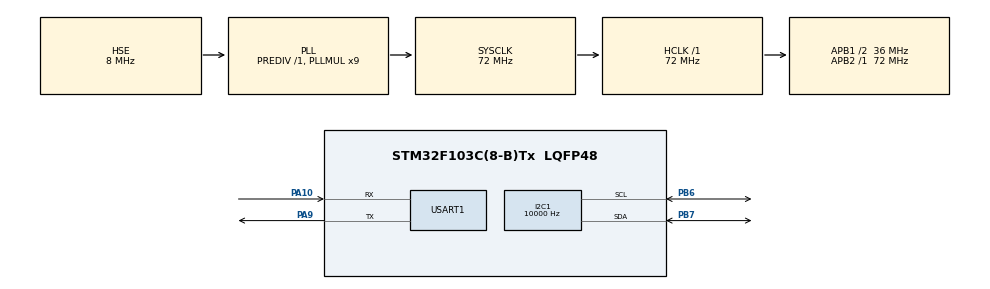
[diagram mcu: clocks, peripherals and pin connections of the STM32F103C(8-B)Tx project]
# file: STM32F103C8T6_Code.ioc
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Dma.Request0=USART1_RX
Dma.Request1=USART1_TX
Dma.USART1_RX.0.Direction=DMA_PERIPH_TO_MEMORY
Dma.USART1_RX.0.Instance=DMA1_Channel5
Dma.USART1_RX.0.MemDataAlignment=DMA_MDATAALIGN_BYTE
Dma.USART1_RX.0.MemInc=DMA_MINC_ENABLE
Dma.USART1_RX.0.Mode=DMA_NORMAL
Dma.USART1_RX.0.PeriphDataAlignment=DMA_PDATAALIGN_BYTE
Dma.USART1_RX.0.PeriphInc=DMA_PINC_DISABLE
Dma.USART1_RX.0.Priority=DMA_PRIORITY_LOW
Dma.USART1_TX.1.Direction=DMA_MEMORY_TO_PERIPH
Dma.USART1_TX.1.Instance=DMA1_Channel4
Dma.USART1_TX.1.MemDataAlignment=DMA_MDATAALIGN_BYTE
Dma.USART1_TX.1.MemInc=DMA_MINC_ENABLE
Dma.USART1_TX.1.Mode=DMA_NORMAL
Dma.USART1_TX.1.PeriphDataAlignment=DMA_PDATAALIGN_BYTE
Dma.USART1_TX.1.PeriphInc=DMA_PINC_DISABLE
Dma.USART1_TX.1.Priority=DMA_PRIORITY_LOW
FREERTOS.BinarySemaphores01=BinarySem_Task_ReportData,Dynamic,NULL;BinarySem_Task_DeviceSetting,Dynamic,NULL;BinarySem_Task_NetworkLink,Dynamic,NULL;BinarySem_Task_RXProductProtocolAnalyse,Dynamic,NULL
FREERTOS.Tasks01=Task_GetSensorsData,0,128,Func_GetSensorsData,Default,NULL,Dynamic,NULL,NULL;Task_ReportData,0,128,Func_ReportData,Default,NULL,Dynamic,NULL,NULL;Task_DeviceSetting,0,128,Func_DeviceSetting,Default,NULL,Dynamic,NULL,NULL;Task_NetworkLink,0,128,Func_NetworkLink,Default,NULL,Dynamic,NULL,NULL;Task_RXProductProtocolAnalyse,0,128,Func_RXProductProtocolAnalyse,Default,NULL,Dynamic,NULL,NULL
FREERTOS.Timers01=myTimer1s,myTimer1s_Callback,osTimerPeriodic,Default,NULL,Dynamic,NULL
FREERTOS.configMAX_TASK_NAME_LEN=32
FREERTOS.configTOTAL_HEAP_SIZE=10240
FREERTOS.configUSE_TIMERS=1
I2C1.ClockSpeed=10000
IWDG.Prescaler=IWDG_PRESCALER_32
IWDG.Reload=1875
Mcu.Family=STM32F1
Mcu.Name=STM32F103C(8-B)Tx
Mcu.Package=LQFP48
NVIC.DMA1_Channel4_IRQn=true\:5\:0\:false\:false\:true\:true\:false
NVIC.DMA1_Channel5_IRQn=true\:5\:0\:false\:false\:true\:true\:false
NVIC.PriorityGroup=NVIC_PRIORITYGROUP_4
NVIC.TIM4_IRQn=true\:0\:0\:false\:false\:true\:false\:false
NVIC.TimeBase=TIM4_IRQn
NVIC.TimeBaseIP=TIM4
NVIC.USART1_IRQn=true\:5\:0\:false\:false\:true\:true\:true
PA10.Mode=Asynchronous
PA10.Signal=USART1_RX
PA13.Mode=Serial_Wire
PA13.Signal=SYS_JTMS-SWDIO
PA14.Mode=Serial_Wire
PA14.Signal=SYS_JTCK-SWCLK
PA9.Mode=Asynchronous
PA9.Signal=USART1_TX
PB6.Mode=I2C
PB6.Signal=I2C1_SCL
PB7.Mode=I2C
PB7.Signal=I2C1_SDA
PD0-OSC_IN.Mode=HSE-External-Oscillator
PD0-OSC_IN.Signal=RCC_OSC_IN
PD1-OSC_OUT.Mode=HSE-External-Oscillator
PD1-OSC_OUT.Signal=RCC_OSC_OUT
ProjectManager.HeapSize=0x200
ProjectManager.StackSize=0x400
ProjectManager.TargetToolchain=MDK-ARM V5
RCC.AHBFreq_Value=72000000
RCC.APB1CLKDivider=RCC_HCLK_DIV2
RCC.APB1Freq_Value=36000000
RCC.APB1TimFreq_Value=72000000
RCC.APB2Freq_Value=72000000
RCC.APB2TimFreq_Value=72000000
RCC.HCLKFreq_Value=72000000
RCC.PLLMUL=RCC_PLL_MUL9
RCC.PLLSourceVirtual=RCC_PLLSOURCE_HSE
RCC.SYSCLKFreq_VALUE=72000000
RCC.SYSCLKSource=RCC_SYSCLKSOURCE_PLLCLK
RCC.USBFreq_Value=72000000
USART1.VirtualMode=VM_ASYNC
VP_FREERTOS_VS_ENABLE.Mode=Enabled
VP_IWDG_VS_IWDG.Mode=IWDG_Activate
VP_SYS_VS_tim4.Mode=TIM4
board=custom

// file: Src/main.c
/**
  ******************************************************************************
  * @file           : main.c
  * @brief          : Main program body
  ******************************************************************************
  * This notice applies to any and all portions of this file
  * that are not between comment pairs USER CODE BEGIN and
  * USER CODE END. Other portions of this file, whether
  * inserted by the user or by software development tools
  * are owned by their respective copyright owners.
  *
  * Copyright (c) 2020 STMicroelectronics International N.V.
  * All rights reserved.
  *
  * Redistribution and use in source and binary forms, with or without
  * modification, are permitted, provided that the following conditions are met:
  *
  * 1. Redistribution of source code must retain the above copyright notice,
  *    this list of conditions and the following disclaimer.
  * 2. Redistributions in binary form must reproduce the above copyright notice,
  *    this list of conditions and the following disclaimer in the documentation
  *    and/or other materials provided with the distribution.
  * 3. Neither the name of STMicroelectronics nor the names of other
  *    contributors to this software may be used to endorse or promote products
  *    derived from this software without specific written permission.
  * 4. This software, including modifications and/or derivative works of this
  *    software, must execute solely and exclusively on microcontroller or
  *    microprocessor devices manufactured by or for STMicroelectronics.
  * 5. Redistribution and use of this software other than as permitted under
  *    this license is void and will automatically terminate your rights under
  *    this license.
  *
  * THIS SOFTWARE IS PROVIDED BY STMICROELECTRONICS AND CONTRIBUTORS "AS IS"
  * AND ANY EXPRESS, IMPLIED OR STATUTORY WARRANTIES, INCLUDING, BUT NOT
  * LIMITED TO, THE IMPLIED WARRANTIES OF MERCHANTABILITY, FITNESS FOR A
  * PARTICULAR PURPOSE AND NON-INFRINGEMENT OF THIRD PARTY INTELLECTUAL PROPERTY
  * RIGHTS ARE DISCLAIMED TO THE FULLEST EXTENT PERMITTED BY LAW. IN NO EVENT
  * SHALL STMICROELECTRONICS OR CONTRIBUTORS BE LIABLE FOR ANY DIRECT, INDIRECT,
  * INCIDENTAL, SPECIAL, EXEMPLARY, OR CONSEQUENTIAL DAMAGES (INCLUDING, BUT NOT
  * LIMITED TO, PROCUREMENT OF SUBSTITUTE GOODS OR SERVICES; LOSS OF USE, DATA,
  * OR PROFITS; OR BUSINESS INTERRUPTION) HOWEVER CAUSED AND ON ANY THEORY OF
  * LIABILITY, WHETHER IN CONTRACT, STRICT LIABILITY, OR TORT (INCLUDING
  * NEGLIGENCE OR OTHERWISE) ARISING IN ANY WAY OUT OF THE USE OF THIS SOFTWARE,
  * EVEN IF ADVISED OF THE POSSIBILITY OF SUCH DAMAGE.
  *
  ******************************************************************************
  */
#include "main.h"
#include "stm32f1xx_hal.h"
#include "cmsis_os.h"
#include "dma.h"
#include "i2c.h"
#include "iwdg.h"
#include "usart.h"
#include "gpio.h"

/* USER CODE BEGIN PV */
/* Private variables ---------------------------------------------------------*/

/* USER CODE END PV */

void SystemClock_Config(void);
void MX_FREERTOS_Init(void);

/* USER CODE BEGIN PFP */
/* Private function prototypes -----------------------------------------------*/

/* USER CODE END PFP */

int main(void)
{

  /* MCU Configuration----------------------------------------------------------*/

  /* Reset of all peripherals, Initializes the Flash interface and the Systick. */
  HAL_Init();

  /* Configure the system clock */
  SystemClock_Config();

  /* Initialize all configured peripherals */
  MX_GPIO_Init();
  MX_DMA_Init();
  MX_USART1_UART_Init();
  MX_I2C1_Init();
  MX_IWDG_Init();
  /* USER CODE BEGIN 2 */
	HAL_UART_Receive_DMA(&huart1, UsartType.RX_pData, RX_LEN);
	__HAL_UART_ENABLE_IT(&huart1, UART_IT_IDLE);
	HAL_Delay(10);
	HAL_IWDG_Init(&hiwdg);
  /* USER CODE END 2 */

  /* Call init function for freertos objects (in freertos.c) */
  MX_FREERTOS_Init();

  /* Start scheduler */
  osKernelStart();

  /* We should never get here as control is now taken by the scheduler */

  /* Infinite loop */
  while (1)
  {

  /* USER CODE BEGIN 3 */
		;
  }
  /* USER CODE END 3 */

}

void SystemClock_Config(void)
{

  RCC_OscInitTypeDef RCC_OscInitStruct;
  RCC_ClkInitTypeDef RCC_ClkInitStruct;

    /**Initializes the CPU, AHB and APB busses clocks
    */
  RCC_OscInitStruct.OscillatorType = RCC_OSCILLATORTYPE_LSI|RCC_OSCILLATORTYPE_HSE;
  RCC_OscInitStruct.HSEState = RCC_HSE_ON;
  RCC_OscInitStruct.HSEPredivValue = RCC_HSE_PREDIV_DIV1;
  RCC_OscInitStruct.HSIState = RCC_HSI_ON;
  RCC_OscInitStruct.LSIState = RCC_LSI_ON;
  RCC_OscInitStruct.PLL.PLLState = RCC_PLL_ON;
  RCC_OscInitStruct.PLL.PLLSource = RCC_PLLSOURCE_HSE;
  RCC_OscInitStruct.PLL.PLLMUL = RCC_PLL_MUL9;
  if (HAL_RCC_OscConfig(&RCC_OscInitStruct) != HAL_OK)
  {
    _Error_Handler(__FILE__, __LINE__);
  }

    /**Initializes the CPU, AHB and APB busses clocks
    */
  RCC_ClkInitStruct.ClockType = RCC_CLOCKTYPE_HCLK|RCC_CLOCKTYPE_SYSCLK
                              |RCC_CLOCKTYPE_PCLK1|RCC_CLOCKTYPE_PCLK2;
  RCC_ClkInitStruct.SYSCLKSource = RCC_SYSCLKSOURCE_PLLCLK;
  RCC_ClkInitStruct.AHBCLKDivider = RCC_SYSCLK_DIV1;
  RCC_ClkInitStruct.APB1CLKDivider = RCC_HCLK_DIV2;
  RCC_ClkInitStruct.APB2CLKDivider = RCC_HCLK_DIV1;

  if (HAL_RCC_ClockConfig(&RCC_ClkInitStruct, FLASH_LATENCY_2) != HAL_OK)
  {
    _Error_Handler(__FILE__, __LINE__);
  }

    /**Configure the Systick interrupt time
    */
  HAL_SYSTICK_Config(HAL_RCC_GetHCLKFreq()/1000);

    /**Configure the Systick
    */
  HAL_SYSTICK_CLKSourceConfig(SYSTICK_CLKSOURCE_HCLK);

  /* SysTick_IRQn interrupt configuration */
  HAL_NVIC_SetPriority(SysTick_IRQn, 15, 0);
}

void HAL_TIM_PeriodElapsedCallback(TIM_HandleTypeDef *htim)
{
  if (htim->Instance == TIM4) {
    HAL_IncTick();
  }
}

void _Error_Handler(char *file, int line)
{
  while(1)
  {
  }
}

/************************ (C) COPYRIGHT STMicroelectronics *****END OF FILE****/

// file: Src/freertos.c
/**
  ******************************************************************************
  * File Name          : freertos.c
  * Description        : Code for freertos applications
  ******************************************************************************
  * This notice applies to any and all portions of this file
  * that are not between comment pairs USER CODE BEGIN and
  * USER CODE END. Other portions of this file, whether
  * inserted by the user or by software development tools
  * are owned by their respective copyright owners.
  *
  * Copyright (c) 2020 STMicroelectronics International N.V.
  * All rights reserved.
  *
  * Redistribution and use in source and binary forms, with or without
  * modification, are permitted, provided that the following conditions are met:
  *
  * 1. Redistribution of source code must retain the above copyright notice,
  *    this list of conditions and the following disclaimer.
  * 2. Redistributions in binary form must reproduce the above copyright notice,
  *    this list of conditions and the following disclaimer in the documentation
  *    and/or other materials provided with the distribution.
  * 3. Neither the name of STMicroelectronics nor the names of other
  *    contributors to this software may be used to endorse or promote products
  *    derived from this software without specific written permission.
  * 4. This software, including modifications and/or derivative works of this
  *    software, must execute solely and exclusively on microcontroller or
  *    microprocessor devices manufactured by or for STMicroelectronics.
  * 5. Redistribution and use of this software other than as permitted under
  *    this license is void and will automatically terminate your rights under
  *    this license.
  *
  * THIS SOFTWARE IS PROVIDED BY STMICROELECTRONICS AND CONTRIBUTORS "AS IS"
  * AND ANY EXPRESS, IMPLIED OR STATUTORY WARRANTIES, INCLUDING, BUT NOT
  * LIMITED TO, THE IMPLIED WARRANTIES OF MERCHANTABILITY, FITNESS FOR A
  * PARTICULAR PURPOSE AND NON-INFRINGEMENT OF THIRD PARTY INTELLECTUAL PROPERTY
  * RIGHTS ARE DISCLAIMED TO THE FULLEST EXTENT PERMITTED BY LAW. IN NO EVENT
  * SHALL STMICROELECTRONICS OR CONTRIBUTORS BE LIABLE FOR ANY DIRECT, INDIRECT,
  * INCIDENTAL, SPECIAL, EXEMPLARY, OR CONSEQUENTIAL DAMAGES (INCLUDING, BUT NOT
  * LIMITED TO, PROCUREMENT OF SUBSTITUTE GOODS OR SERVICES; LOSS OF USE, DATA,
  * OR PROFITS; OR BUSINESS INTERRUPTION) HOWEVER CAUSED AND ON ANY THEORY OF
  * LIABILITY, WHETHER IN CONTRACT, STRICT LIABILITY, OR TORT (INCLUDING
  * NEGLIGENCE OR OTHERWISE) ARISING IN ANY WAY OUT OF THE USE OF THIS SOFTWARE,
  * EVEN IF ADVISED OF THE POSSIBILITY OF SUCH DAMAGE.
  *
  ******************************************************************************
  */

#include "FreeRTOS.h"
#include "task.h"
#include "cmsis_os.h"

/* USER CODE BEGIN Includes */
#include "usart.h"
#include <string.h>
#include <stdlib.h>
#include "UserFunc.h"
#include "stm32f1xx_hal.h"
#include "iwdg.h"
/* USER CODE END Includes */

osThreadId Task_GetSensorsDataHandle;
osThreadId Task_ReportDataHandle;
osThreadId Task_DeviceSettingHandle;
osThreadId Task_NetworkLinkHandle;
osThreadId Task_RXProductProtocolAnalyseHandle;
osTimerId myTimer1sHandle;
osSemaphoreId BinarySem_Task_ReportDataHandle;
osSemaphoreId BinarySem_Task_DeviceSettingHandle;
osSemaphoreId BinarySem_Task_NetworkLinkHandle;
osSemaphoreId BinarySem_Task_RXProductProtocolAnalyseHandle;

/* USER CODE BEGIN Variables */
uint16_t softTimerCount = 0;    //RTOS软件定时器  单位：秒
/* USER CODE END Variables */

void Func_GetSensorsData(void const * argument);
void Func_ReportData(void const * argument);
void Func_DeviceSetting(void const * argument);
void Func_NetworkLink(void const * argument);
void Func_RXProductProtocolAnalyse(void const * argument);
void myTimer1s_Callback(void const * argument);

void MX_FREERTOS_Init(void); /* (MISRA C 2004 rule 8.1) */

/* Hook prototypes */

/* Init FreeRTOS */

void MX_FREERTOS_Init(void) {

  /* Create the semaphores(s) */
  /* definition and creation of BinarySem_Task_ReportData */
  osSemaphoreDef(BinarySem_Task_ReportData);
  BinarySem_Task_ReportDataHandle = osSemaphoreCreate(osSemaphore(BinarySem_Task_ReportData), 1);

  /* definition and creation of BinarySem_Task_DeviceSetting */
  osSemaphoreDef(BinarySem_Task_DeviceSetting);
  BinarySem_Task_DeviceSettingHandle = osSemaphoreCreate(osSemaphore(BinarySem_Task_DeviceSetting), 1);

  /* definition and creation of BinarySem_Task_NetworkLink */
  osSemaphoreDef(BinarySem_Task_NetworkLink);
  BinarySem_Task_NetworkLinkHandle = osSemaphoreCreate(osSemaphore(BinarySem_Task_NetworkLink), 1);

  /* definition and creation of BinarySem_Task_RXProductProtocolAnalyse */
  osSemaphoreDef(BinarySem_Task_RXProductProtocolAnalyse);
  BinarySem_Task_RXProductProtocolAnalyseHandle = osSemaphoreCreate(osSemaphore(BinarySem_Task_RXProductProtocolAnalyse), 1);

  /* Create the timer(s) */
  /* definition and creation of myTimer1s */
  osTimerDef(myTimer1s, myTimer1s_Callback);
  myTimer1sHandle = osTimerCreate(osTimer(myTimer1s), osTimerPeriodic, NULL);

  /* USER CODE BEGIN RTOS_TIMERS */
  /* start timers, add new ones, ... */
	osTimerStart(myTimer1sHandle,1000);
  /* USER CODE END RTOS_TIMERS */

  /* Create the thread(s) */
  /* definition and creation of Task_GetSensorsData */
  osThreadDef(Task_GetSensorsData, Func_GetSensorsData, osPriorityNormal, 0, 128);
  Task_GetSensorsDataHandle = osThreadCreate(osThread(Task_GetSensorsData), NULL);

  /* definition and creation of Task_ReportData */
  osThreadDef(Task_ReportData, Func_ReportData, osPriorityNormal, 0, 128);
  Task_ReportDataHandle = osThreadCreate(osThread(Task_ReportData), NULL);

  /* definition and creation of Task_DeviceSetting */
  osThreadDef(Task_DeviceSetting, Func_DeviceSetting, osPriorityNormal, 0, 128);
  Task_DeviceSettingHandle = osThreadCreate(osThread(Task_DeviceSetting), NULL);

  /* definition and creation of Task_NetworkLink */
  osThreadDef(Task_NetworkLink, Func_NetworkLink, osPriorityNormal, 0, 128);
  Task_NetworkLinkHandle = osThreadCreate(osThread(Task_NetworkLink), NULL);

  /* definition and creation of Task_RXProductProtocolAnalyse */
  osThreadDef(Task_RXProductProtocolAnalyse, Func_RXProductProtocolAnalyse, osPriorityNormal, 0, 128);
  Task_RXProductProtocolAnalyseHandle = osThreadCreate(osThread(Task_RXProductProtocolAnalyse), NULL);

}

/* Func_GetSensorsData function */
void Func_GetSensorsData(void const * argument)
{

  /* USER CODE BEGIN Func_GetSensorsData */
	AHT15_Reset();
  /* Infinite loop */
  for(;;)
  {
		if( DeviceSet.AHT15_EN == 1)
			Get_AHT15_Data(); 		//获取温湿度
		if( DeviceSet.VOC_EN ==1 )
			Get_AGS01DB_Data();		//获取VOC
		if(	DeviceSet.PM2_5_EN == 1 )
			;
		if( DeviceSet.Light_EN == 1 )
			;
		if( DeviceSet.Noice_EN == 1 )
			;

    osDelay(2000);				//AGS01DB传感器采样周期最长  为>=2S
  }
  /* USER CODE END Func_GetSensorsData */
}

/* Func_ReportData function */
void Func_ReportData(void const * argument)
{
  /* USER CODE BEGIN Func_ReportData */
	char * p = NULL;
	char * p2 = NULL;
	char buf[10]={0};		//itoa buf

	osDelay(1);
	osSemaphoreWait(BinarySem_Task_ReportDataHandle,osWaitForever);// 先清空信号量，信号量创建(cubemx)生成时为满	 虽然该信号量可能不会用到
  osDelay(12000);			//给点时间初始化 12S
	/* Infinite loop */
  for(;;)
  {
		osSemaphoreWait(BinarySem_Task_ReportDataHandle,osWaitForever);	//控制1秒仅进入该任务一次

		//定期检测TCP远程服务器链接情况
		if( softTimerCount%(10*DeviceSet.T) == 0 )
		{
			snprintf((char *)UsartTx,sizeof(UsartTx),"AT+CIPSTATUS\r\n" );
			HAL_UART_Transmit_DMA(&huart1,(uint8_t *)UsartTx,strlen((char *)UsartTx) );
			osDelay(2000);		//时间未确定
			p = (char *)strstr((char *)&UsartType.RX_pData[0],"\"TCP\"");		// p+7 : IP地址首字节地址
			p2 = strchr(p+7,',');			// p2+1 : IP端口字符串首字节地址
			snprintf(buf,10,"%d",DeviceSet.Port);	 //itoa
			if( ( p == NULL ) || (0!= strncmp(p+7,(char *)DeviceSet.IP,strlen((char *)DeviceSet.IP))) || (0!= strncmp(p2+1,buf,strlen(buf)) )	)  //未连接上
			{
				p = NULL;
				p2 = NULL;
				memset(buf,0,10);		//清零初始化，防意外
				//远程服务器链接状态 刷新
				DeviceSet.NetWork_Status = 2;
				//连接TCP远程服务器
				snprintf((char *)UsartTx,sizeof(UsartTx),"AT+CIPSTART=2,\"TCP\",\"%s\",%hd\r\n",DeviceSet.IP,DeviceSet.Port );
				HAL_UART_Transmit_DMA(&huart1,(uint8_t *)UsartTx,strlen((char *)UsartTx) );
				osDelay(5000);
			}
			else	DeviceSet.NetWork_Status = 1;		//远程服务器链接状态 刷新 (连接上)
		}

		//定期自动上报数据 		数据帧形式
		if(  softTimerCount%DeviceSet.T == 0 )
		{
			if( (DeviceSet.Mode == 1)&&(DeviceSet.NetWork_Status == 1) )	 //网络连接正常 且开启自动上报
			{
				snprintf((char *)UsartTx,sizeof(UsartTx),"AT+CIPSEND=2,%d\r\n",DDD_Len+4 );
				HAL_UART_Transmit_DMA(&huart1,(uint8_t *)UsartTx,strlen((char *)UsartTx) );
				osDelay(200);
				UsartTx[0] = 0xA5;
				UsartTx[1] = 0x5A;
				UsartTx[2] = DDD_Len+1;
				UsartTx[3] = 0x02;
				memcpy( &UsartTx[4],(uint8_t *)&SensorData,DDD_Len );
				HAL_UART_Transmit_DMA(&huart1,(uint8_t *)UsartTx,DDD_Len+4 );
				osDelay(200);	//给wifi模块发送一点点时间
				//远程服务器端接收到数据帧，解析, 再将该数据转换成DDD结构体，方可读出数据
				;
			}
		}

		//定期上报Wifi设备配置信息  数据帧形式
		if(  softTimerCount%(3*DeviceSet.T) == 0 )
		{
			if( DeviceSet.NetWork_Status == 1)		//网络连接正常
			{
				snprintf((char *)UsartTx,sizeof(UsartTx),"AT+CIPSEND=2,%d\r\n",SSS_Len+4 );
				HAL_UART_Transmit_DMA(&huart1,(uint8_t *)UsartTx,strlen((char *)UsartTx) );
				osDelay(200);
				UsartTx[0] = 0xA5;
				UsartTx[1] = 0x5A;
				UsartTx[2] = SSS_Len+1;
				UsartTx[3] = 0x03;
				memcpy( &UsartTx[4],(uint8_t *)&DeviceSet,SSS_Len );
				HAL_UART_Transmit_DMA(&huart1,(uint8_t *)UsartTx,SSS_Len+4 );
				osDelay(200);	//给wifi模块发送一点点时间
				//远程服务器端接收到数据帧，解析, 再将该数据转换成SSS结构体，方可读出数据
				;
			}
		}

    osDelay(1);
  }
  /* USER CODE END Func_ReportData */
}

/* Func_DeviceSetting function */
void Func_DeviceSetting(void const * argument)
{
  /* USER CODE BEGIN Func_DeviceSetting */
	osDelay(1);
	osSemaphoreWait(BinarySem_Task_DeviceSettingHandle,osWaitForever);// 先清空信号量，信号量创建(cubemx)生成时为满

	ReadEEPROM();
	if(DeviceSet.FirstTimeSet_Or_Not == 0x55)
		Init_SecondTime();
	else
		Init_FirstTime();
  /* Infinite loop */
  for(;;)
  {
		osSemaphoreWait(BinarySem_Task_DeviceSettingHandle,osWaitForever);
		Refresh_Set();
    osDelay(100);
  }
  /* USER CODE END Func_DeviceSetting */
}

/* Func_NetworkLink function */
void Func_NetworkLink(void const * argument)
{
  /* USER CODE BEGIN Func_NetworkLink */
  /* Infinite loop */
  for(;;)
  {
    osDelay(1000);
  }
  /* USER CODE END Func_NetworkLink */
}

/* Func_RXProductProtocolAnalyse function */
void Func_RXProductProtocolAnalyse(void const * argument)
{
  /* USER CODE BEGIN Func_RXProductProtocolAnalyse */
	osDelay(1);
	osSemaphoreWait(BinarySem_Task_RXProductProtocolAnalyseHandle,osWaitForever);  //先清空信号量，刚创建时为满
  /* Infinite loop */
  for(;;)
  {
		osSemaphoreWait(BinarySem_Task_RXProductProtocolAnalyseHandle,osWaitForever);
		//1.解析RX数据，并刷新缓存
		if( (UsartType.RX_pData[0]==0xA5) && (UsartType.RX_pData[1]==0x5A) )
		{
			switch( UsartType.RX_pData[3])
			{
				case 0x03:{
											switch(UsartType.RX_pData[4])	//子判定字节
											{
												case 0x01: strncpy((char *)&DeviceSet.Name[0],(char *)&UsartType.RX_pData[5],strlen((char *)&UsartType.RX_pData[5])+1 );
																		break;
												case 0x02: strncpy((char *)&DeviceSet.IP[0],(char *)&UsartType.RX_pData[5],strlen((char *)&UsartType.RX_pData[5])+1 );
																		break;
												case 0x03: DeviceSet.Port = *(uint16_t *)(&UsartType.RX_pData[5]);		//stm32是小端模式 其它端发过来时要注意
																		break;
												case 0x04: strncpy((char *)&DeviceSet.C_Name[0],(char *)&UsartType.RX_pData[5],strlen((char *)&UsartType.RX_pData[5])+1 );
																		break;
												case 0x05: strncpy((char *)&DeviceSet.C_Key[0],(char *)&UsartType.RX_pData[5],strlen((char *)&UsartType.RX_pData[5])+1 );
																		break;
												case 0x06: DeviceSet.Mode = UsartType.RX_pData[5];
																		break;
												case 0x07: DeviceSet.T = *(uint16_t *)(&UsartType.RX_pData[5]);		//stm32是小端模式 其它端发过来时要注意
																		break;
												case 0x08: DeviceSet.AHT15_EN = UsartType.RX_pData[5];
																		break;
												case 0x09: DeviceSet.VOC_EN = UsartType.RX_pData[5];
																		break;
												case 0x0a: DeviceSet.PM2_5_EN = UsartType.RX_pData[5];
																		break;
												case 0x0b: DeviceSet.Light_EN = UsartType.RX_pData[5];
																		break;
												case 0x0c: DeviceSet.Noice_EN = UsartType.RX_pData[5];
																		break;
												case 0x0d: {
																		DeviceSet.Refresh_Set_Control = UsartType.RX_pData[5];
																		if( DeviceSet.Refresh_Set_Control == 1)
																			{ DeviceSet.Refresh_Set_Control = 2;
																				osSemaphoreRelease(BinarySem_Task_DeviceSettingHandle); }

																	 }
												default:   break;
											}

									}
									break;
				default:
									break;
			}
		}

    osDelay(1);
  }
  /* USER CODE END Func_RXProductProtocolAnalyse */
}

/* myTimer1s_Callback function */
void myTimer1s_Callback(void const * argument)
{
  /* USER CODE BEGIN myTimer1s_Callback */
  softTimerCount++;
	osSemaphoreRelease(BinarySem_Task_ReportDataHandle);	//用信号量控制一秒仅进入那个函数一次

	HAL_IWDG_Refresh(&hiwdg);
  /* USER CODE END myTimer1s_Callback */
}

/************************ (C) COPYRIGHT STMicroelectronics *****END OF FILE****/
